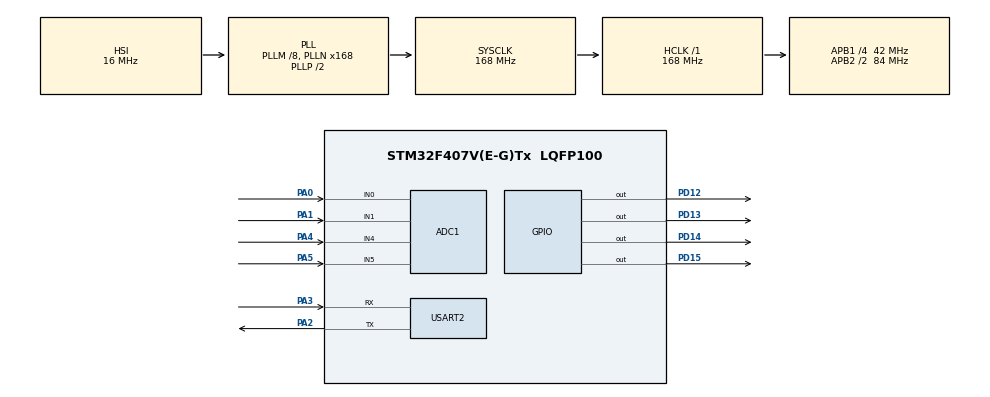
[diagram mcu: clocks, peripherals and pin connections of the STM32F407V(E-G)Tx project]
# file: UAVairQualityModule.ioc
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ADC1.Channel-2\#ChannelRegularConversion=ADC_CHANNEL_0
ADC1.Channel-3\#ChannelRegularConversion=ADC_CHANNEL_1
ADC1.Channel-4\#ChannelRegularConversion=ADC_CHANNEL_4
ADC1.Channel-5\#ChannelRegularConversion=ADC_CHANNEL_5
ADC1.ClockPrescaler=ADC_CLOCK_SYNC_PCLK_DIV8
ADC1.ContinuousConvMode=ENABLE
ADC1.DMAContinuousRequests=ENABLE
ADC1.EOCSelection=ADC_EOC_SEQ_CONV
ADC1.NbrOfConversion=4
ADC1.NbrOfConversionFlag=1
ADC1.Rank-2\#ChannelRegularConversion=1
ADC1.Rank-3\#ChannelRegularConversion=2
ADC1.Rank-4\#ChannelRegularConversion=3
ADC1.Rank-5\#ChannelRegularConversion=4
ADC1.SamplingTime-2\#ChannelRegularConversion=ADC_SAMPLETIME_480CYCLES
ADC1.SamplingTime-3\#ChannelRegularConversion=ADC_SAMPLETIME_480CYCLES
ADC1.SamplingTime-4\#ChannelRegularConversion=ADC_SAMPLETIME_480CYCLES
ADC1.SamplingTime-5\#ChannelRegularConversion=ADC_SAMPLETIME_480CYCLES
ADC1.ScanConvMode=ENABLE
ADC1.master=1
Dma.ADC1.0.Direction=DMA_PERIPH_TO_MEMORY
Dma.ADC1.0.FIFOMode=DMA_FIFOMODE_DISABLE
Dma.ADC1.0.Instance=DMA2_Stream0
Dma.ADC1.0.MemDataAlignment=DMA_MDATAALIGN_HALFWORD
Dma.ADC1.0.MemInc=DMA_MINC_ENABLE
Dma.ADC1.0.Mode=DMA_CIRCULAR
Dma.ADC1.0.PeriphDataAlignment=DMA_PDATAALIGN_HALFWORD
Dma.ADC1.0.PeriphInc=DMA_PINC_DISABLE
Dma.ADC1.0.Priority=DMA_PRIORITY_HIGH
Dma.Request0=ADC1
Mcu.Family=STM32F4
Mcu.Name=STM32F407V(E-G)Tx
Mcu.Package=LQFP100
NVIC.DMA2_Stream0_IRQn=true\:0\:0\:false\:false\:true\:false\:true
NVIC.PriorityGroup=NVIC_PRIORITYGROUP_4
NVIC.TIM2_IRQn=true\:0\:0\:false\:false\:true\:true\:true
PA0-WKUP.Signal=ADCx_IN0
PA1.Signal=ADCx_IN1
PA2.Mode=Asynchronous
PA2.Signal=USART2_TX
PA3.Mode=Asynchronous
PA3.Signal=USART2_RX
PA4.Signal=ADCx_IN4
PA5.Signal=ADCx_IN5
PD12.Signal=GPIO_Output
PD13.Signal=GPIO_Output
PD14.Signal=GPIO_Output
PD15.Signal=GPIO_Output
ProjectManager.HeapSize=0x200
ProjectManager.StackSize=0x400
ProjectManager.TargetToolchain=STM32CubeIDE
RCC.48MHZClocksFreq_Value=84000000
RCC.AHBFreq_Value=168000000
RCC.APB1CLKDivider=RCC_HCLK_DIV4
RCC.APB1Freq_Value=42000000
RCC.APB1TimFreq_Value=84000000
RCC.APB2CLKDivider=RCC_HCLK_DIV2
RCC.APB2Freq_Value=84000000
RCC.APB2TimFreq_Value=168000000
RCC.CortexFreq_Value=168000000
RCC.HCLKFreq_Value=168000000
RCC.HSE_VALUE=25000000
RCC.HSI_VALUE=16000000
RCC.LSE_VALUE=32768
RCC.PLLM=8
RCC.PLLN=168
RCC.SYSCLKFreq_VALUE=168000000
RCC.SYSCLKSource=RCC_SYSCLKSOURCE_PLLCLK
RCC.VCOOutputFreq_Value=336000000
SH.ADCx_IN0.0=ADC1_IN0,IN0
SH.ADCx_IN1.0=ADC1_IN1,IN1
SH.ADCx_IN4.0=ADC1_IN4,IN4
SH.ADCx_IN5.0=ADC1_IN5,IN5
TIM2.Period=499
TIM2.Prescaler=41999
TIM2.TIM_MasterOutputTrigger=TIM_TRGO_UPDATE
USART2.VirtualMode=VM_ASYNC
VP_TIM2_VS_ClockSourceINT.Mode=Internal
board=custom

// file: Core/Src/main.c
/* USER CODE BEGIN Header */
/**
  ******************************************************************************
  * @file           : main.c
  * @brief          : Main program body
  ******************************************************************************
  * @attention
  *
  * <h2><center>&copy; Copyright (c) 2020 STMicroelectronics.
  * All rights reserved.</center></h2>
  *
  * This software component is licensed by ST under BSD 3-Clause license,
  * the "License"; You may not use this file except in compliance with the
  * License. You may obtain a copy of the License at:
  *                        opensource.org/licenses/BSD-3-Clause
  *
  ******************************************************************************
  */
/* USER CODE END Header */

#include "main.h"

/* USER CODE BEGIN Includes */
#include <string.h>
#include <stdio.h>
#include "EventProcessor.h"
#include "portTransmitInterface.h"
#include "pb/pb_encode.h"
#include "pb/pb_decode.h"
#include "UAVairQuality.pb.h"

/* USER CODE END Includes */

ADC_HandleTypeDef hadc1;
DMA_HandleTypeDef hdma_adc1;

TIM_HandleTypeDef htim2;

UART_HandleTypeDef huart2;

void SystemClock_Config(void);
static void MX_GPIO_Init(void);
static void MX_DMA_Init(void);
static void MX_ADC1_Init(void);
static void MX_USART2_UART_Init(void);
static void MX_TIM2_Init(void);

/* USER CODE BEGIN 0 */
volatile uint16_t rawdata[4];	// To hold raw data comming from sensors
uint8_t buffer[50];
void event_dispatch_cb(event_t ev);	// Event dispatcher this function will be called whenever a event is handled
EventQueue_t *UAVairQualityevents;	// Event queue to hold event posted from Timer2 Interrupt service routine
TransmitInterface_t TransmitI;      // Transmit interface for transmitting data to outside

// Protocol buffer init Variables
AirQualityMessageFrame txFrame=AirQualityMessageFrame_init_zero;
pb_ostream_t txStream;
pb_byte_t txBuffer[40];				// transmit buffer for Transmit ınterface

/* USER CODE END 0 */

int main(void)
{

  /* MCU Configuration--------------------------------------------------------*/

  /* Reset of all peripherals, Initializes the Flash interface and the Systick. */
  HAL_Init();

  /* Configure the system clock */
  SystemClock_Config();

  /* Initialize all configured peripherals */
  MX_GPIO_Init();
  MX_DMA_Init();
  MX_ADC1_Init();
  MX_USART2_UART_Init();
  MX_TIM2_Init();
  /* USER CODE BEGIN 2 */

  // Initializing Event Queue to hold maximum 200 number of events
  UAVairQualityevents=Queue_Init(200);

  // Set event dispatch callback
  UAVairQualityevents->event_cb=event_dispatch_cb;

  // Set Transmit Interface as And UART
  // Since i dont have SIM/4G module,just implemented it as uart to send packet into
  //
  TransmitI.transmit_data=Uart_Transmit;

  // Start DMA to made transmission from 4 ADC channels to rawdata array
  HAL_ADC_Start_DMA(&hadc1,(uint32_t*)rawdata,4);

  // Start Timer Interrupt at 20Hz
  HAL_TIM_Base_Start_IT(&htim2);

  /* USER CODE END 2 */

  /* Infinite loop */
  while (1)
  {

    /* USER CODE BEGIN 3 */
	  // Wait for events to come from Timer ISR
	  if(getNofEvents(UAVairQualityevents)>0)
	  {
		  // Dispatch events
		  processEvents(UAVairQualityevents);
	  }

  }
  /* USER CODE END 3 */
}

void SystemClock_Config(void)
{
  RCC_OscInitTypeDef RCC_OscInitStruct = {0};
  RCC_ClkInitTypeDef RCC_ClkInitStruct = {0};

  /** Configure the main internal regulator output voltage
  */
  __HAL_RCC_PWR_CLK_ENABLE();
  __HAL_PWR_VOLTAGESCALING_CONFIG(PWR_REGULATOR_VOLTAGE_SCALE1);
  /** Initializes the CPU, AHB and APB busses clocks
  */
  RCC_OscInitStruct.OscillatorType = RCC_OSCILLATORTYPE_HSI;
  RCC_OscInitStruct.HSIState = RCC_HSI_ON;
  RCC_OscInitStruct.HSICalibrationValue = RCC_HSICALIBRATION_DEFAULT;
  RCC_OscInitStruct.PLL.PLLState = RCC_PLL_ON;
  RCC_OscInitStruct.PLL.PLLSource = RCC_PLLSOURCE_HSI;
  RCC_OscInitStruct.PLL.PLLM = 8;
  RCC_OscInitStruct.PLL.PLLN = 168;
  RCC_OscInitStruct.PLL.PLLP = RCC_PLLP_DIV2;
  RCC_OscInitStruct.PLL.PLLQ = 4;
  if (HAL_RCC_OscConfig(&RCC_OscInitStruct) != HAL_OK)
  {
    Error_Handler();
  }
  /** Initializes the CPU, AHB and APB busses clocks
  */
  RCC_ClkInitStruct.ClockType = RCC_CLOCKTYPE_HCLK|RCC_CLOCKTYPE_SYSCLK
                              |RCC_CLOCKTYPE_PCLK1|RCC_CLOCKTYPE_PCLK2;
  RCC_ClkInitStruct.SYSCLKSource = RCC_SYSCLKSOURCE_PLLCLK;
  RCC_ClkInitStruct.AHBCLKDivider = RCC_SYSCLK_DIV1;
  RCC_ClkInitStruct.APB1CLKDivider = RCC_HCLK_DIV4;
  RCC_ClkInitStruct.APB2CLKDivider = RCC_HCLK_DIV2;

  if (HAL_RCC_ClockConfig(&RCC_ClkInitStruct, FLASH_LATENCY_5) != HAL_OK)
  {
    Error_Handler();
  }
}

static void MX_ADC1_Init(void)
{

  ADC_ChannelConfTypeDef sConfig = {0};

  /** Configure the global features of the ADC (Clock, Resolution, Data Alignment and number of conversion)
  */
  hadc1.Instance = ADC1;
  hadc1.Init.ClockPrescaler = ADC_CLOCK_SYNC_PCLK_DIV8;
  hadc1.Init.Resolution = ADC_RESOLUTION_12B;
  hadc1.Init.ScanConvMode = ENABLE;
  hadc1.Init.ContinuousConvMode = ENABLE;
  hadc1.Init.DiscontinuousConvMode = DISABLE;
  hadc1.Init.ExternalTrigConvEdge = ADC_EXTERNALTRIGCONVEDGE_NONE;
  hadc1.Init.ExternalTrigConv = ADC_SOFTWARE_START;
  hadc1.Init.DataAlign = ADC_DATAALIGN_RIGHT;
  hadc1.Init.NbrOfConversion = 4;
  hadc1.Init.DMAContinuousRequests = ENABLE;
  hadc1.Init.EOCSelection = ADC_EOC_SEQ_CONV;
  if (HAL_ADC_Init(&hadc1) != HAL_OK)
  {
    Error_Handler();
  }
  /** Configure for the selected ADC regular channel its corresponding rank in the sequencer and its sample time.
  */
  sConfig.Channel = ADC_CHANNEL_0;
  sConfig.Rank = 1;
  sConfig.SamplingTime = ADC_SAMPLETIME_480CYCLES;
  if (HAL_ADC_ConfigChannel(&hadc1, &sConfig) != HAL_OK)
  {
    Error_Handler();
  }
  /** Configure for the selected ADC regular channel its corresponding rank in the sequencer and its sample time.
  */
  sConfig.Channel = ADC_CHANNEL_1;
  sConfig.Rank = 2;
  if (HAL_ADC_ConfigChannel(&hadc1, &sConfig) != HAL_OK)
  {
    Error_Handler();
  }
  /** Configure for the selected ADC regular channel its corresponding rank in the sequencer and its sample time.
  */
  sConfig.Channel = ADC_CHANNEL_4;
  sConfig.Rank = 3;
  if (HAL_ADC_ConfigChannel(&hadc1, &sConfig) != HAL_OK)
  {
    Error_Handler();
  }
  /** Configure for the selected ADC regular channel its corresponding rank in the sequencer and its sample time.
  */
  sConfig.Channel = ADC_CHANNEL_5;
  sConfig.Rank = 4;
  if (HAL_ADC_ConfigChannel(&hadc1, &sConfig) != HAL_OK)
  {
    Error_Handler();
  }

}

static void MX_TIM2_Init(void)
{

  TIM_ClockConfigTypeDef sClockSourceConfig = {0};
  TIM_MasterConfigTypeDef sMasterConfig = {0};

  htim2.Instance = TIM2;
  htim2.Init.Prescaler = 41999;
  htim2.Init.CounterMode = TIM_COUNTERMODE_UP;
  htim2.Init.Period = 499;
  htim2.Init.ClockDivision = TIM_CLOCKDIVISION_DIV1;
  htim2.Init.AutoReloadPreload = TIM_AUTORELOAD_PRELOAD_DISABLE;
  if (HAL_TIM_Base_Init(&htim2) != HAL_OK)
  {
    Error_Handler();
  }
  sClockSourceConfig.ClockSource = TIM_CLOCKSOURCE_INTERNAL;
  if (HAL_TIM_ConfigClockSource(&htim2, &sClockSourceConfig) != HAL_OK)
  {
    Error_Handler();
  }
  sMasterConfig.MasterOutputTrigger = TIM_TRGO_UPDATE;
  sMasterConfig.MasterSlaveMode = TIM_MASTERSLAVEMODE_DISABLE;
  if (HAL_TIMEx_MasterConfigSynchronization(&htim2, &sMasterConfig) != HAL_OK)
  {
    Error_Handler();
  }

}

static void MX_USART2_UART_Init(void)
{

  huart2.Instance = USART2;
  huart2.Init.BaudRate = 115200;
  huart2.Init.WordLength = UART_WORDLENGTH_8B;
  huart2.Init.StopBits = UART_STOPBITS_1;
  huart2.Init.Parity = UART_PARITY_NONE;
  huart2.Init.Mode = UART_MODE_TX_RX;
  huart2.Init.HwFlowCtl = UART_HWCONTROL_NONE;
  huart2.Init.OverSampling = UART_OVERSAMPLING_16;
  if (HAL_UART_Init(&huart2) != HAL_OK)
  {
    Error_Handler();
  }

}

static void MX_DMA_Init(void)
{

  /* DMA controller clock enable */
  __HAL_RCC_DMA2_CLK_ENABLE();

  /* DMA interrupt init */
  /* DMA2_Stream0_IRQn interrupt configuration */
  HAL_NVIC_SetPriority(DMA2_Stream0_IRQn, 0, 0);
  HAL_NVIC_EnableIRQ(DMA2_Stream0_IRQn);

}

static void MX_GPIO_Init(void)
{
  GPIO_InitTypeDef GPIO_InitStruct = {0};

  /* GPIO Ports Clock Enable */
  __HAL_RCC_GPIOA_CLK_ENABLE();
  __HAL_RCC_GPIOD_CLK_ENABLE();

  /*Configure GPIO pin Output Level */
  HAL_GPIO_WritePin(GPIOD, GPIO_PIN_12|GPIO_PIN_13|GPIO_PIN_14|GPIO_PIN_15, GPIO_PIN_RESET);

  /*Configure GPIO pins : PD12 PD13 PD14 PD15 */
  GPIO_InitStruct.Pin = GPIO_PIN_12|GPIO_PIN_13|GPIO_PIN_14|GPIO_PIN_15;
  GPIO_InitStruct.Mode = GPIO_MODE_OUTPUT_PP;
  GPIO_InitStruct.Pull = GPIO_NOPULL;
  GPIO_InitStruct.Speed = GPIO_SPEED_FREQ_LOW;
  HAL_GPIO_Init(GPIOD, &GPIO_InitStruct);

}

/* USER CODE BEGIN 4 */
void HAL_ADC_ConvCpltCallback(ADC_HandleTypeDef* hadc)
{

}
void event_dispatch_cb(event_t ev)
{
	// Init the stream
    txStream=pb_ostream_from_buffer(txBuffer,40);

    // Place datat onto buffer
    txFrame.SO2_RawData=ev.SO2_RawValue;
    txFrame.NO2_RawData=ev.NO2_RawValue;
    txFrame.CO_RawData=ev.CO_RawValue;
    txFrame.CO2_RawDate=ev.CO2_RawValue;

    // encode data using Nanopb encoding rules
    pb_encode(&txStream,AirQualityMessageFrame_fields,&txFrame);

    // Copy it to transmit buffer and append new line to inform Host App buffer is ended here
	sprintf((char *)buffer,(const char *)"%s\n",txBuffer);

	// Transmit it using Transmit interface
	TransmitI.transmit_data(buffer,strlen((const char*)buffer));
}
void HAL_TIM_PeriodElapsedCallback(TIM_HandleTypeDef *htim)
{

	// Create an event
	event_t ev;

	// Fill values into event struct
	ev.SO2_RawValue=rawdata[0];
	ev.NO2_RawValue=rawdata[1];
	ev.CO_RawValue=rawdata[2];
	ev.CO2_RawValue=rawdata[3];

	// post event by appending it to event queue
	enQueue(UAVairQualityevents, ev);

}
/* USER CODE END 4 */

void Error_Handler(void)
{
}

/************************ (C) COPYRIGHT STMicroelectronics *****END OF FILE****/
